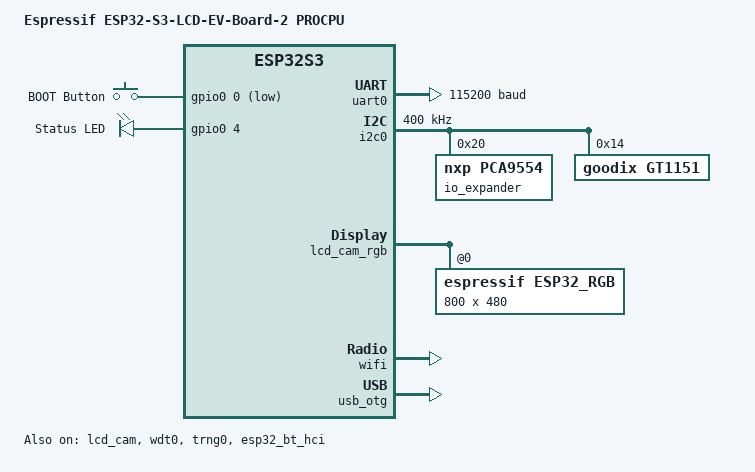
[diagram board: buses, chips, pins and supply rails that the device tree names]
/*
 * Copyright (c) 2026 Espressif Systems (Shanghai) Co., Ltd.
 *
 * SPDX-License-Identifier: Apache-2.0
 */
/dts-v1/;

#include <espressif/esp32s3/esp32s3.dtsi>
#include <zephyr/dt-bindings/input/input-event-codes.h>
#include <espressif/partitions_0x0_amp_16M.dtsi>
#include "esp32s3_lcd_ev-pinctrl.dtsi"

/ {
	model = "Espressif ESP32-S3-LCD-EV-Board-2 PROCPU";
	compatible = "espressif,esp32s3";

	aliases {
		i2c-0 = &i2c0;
		watchdog0 = &wdt0;
		uart-0 = &uart0;
		sw0 = &boot_button;
		led0 = &status_led;
		zephyr-display = &esp32_rgb;
		zephyr-touch = &gt1151;
	};

	chosen {
		zephyr,sram = &sram1;
		zephyr,console = &uart0;
		zephyr,shell-uart = &uart0;
		zephyr,flash = &flash0;
		zephyr,code-partition = &slot0_partition;
		zephyr,bt-hci = &esp32_bt_hci;
		zephyr,display = &esp32_rgb;
		zephyr,touch = &gt1151;
	};

	buttons {
		compatible = "gpio-keys";

		boot_button: button_0 {
			gpios = <&gpio0 0 (GPIO_PULL_UP | GPIO_ACTIVE_LOW)>;
			label = "BOOT Button";
			zephyr,code = <INPUT_KEY_0>;
		};
	};

	leds {
		compatible = "gpio-leds";

		status_led: led_0 {
			gpios = <&gpio0 4 GPIO_ACTIVE_HIGH>;
			label = "Status LED";
		};
	};
};

&flash0 {
	reg = <0x0 DT_SIZE_M(16)>;
	#address-cells = <1>;
	#size-cells = <1>;
	ranges = <0x0 0x0 DT_SIZE_M(16)>;
};

&psram0 {
	size = <DT_SIZE_M(16)>;
};

&dma {
	status = "okay";
};

&uart0 {
	status = "okay";
	current-speed = <115200>;
	pinctrl-0 = <&uart0_default>;
	pinctrl-1 = <&uart0_sleep>;
	pinctrl-names = "default", "sleep";
};

&gpio0 {
	status = "okay";
};

&gpio1 {
	status = "okay";
};

/*
 * Single I2C bus shared by:
 *   - TCA9554 GPIO expander (0x20) – PA_CTRL on SUB3
 *   - GT1151 touch controller (0x14)
 */
&i2c0 {
	status = "okay";
	clock-frequency = <I2C_BITRATE_FAST>;
	pinctrl-0 = <&i2c0_default>;
	pinctrl-names = "default";

	io_expander: tca9554@20 {
		compatible = "nxp,pca9554";
		reg = <0x20>;
		gpio-controller;
		#gpio-cells = <2>;
		ngpios = <8>;

		/* P0 - PA_CTRL: audio amplifier power enable (active high) */
	};

	gt1151: gt1151@14 {
		compatible = "goodix,gt1151";
		reg = <0x14>;
		screen-width = <800>;
		screen-height = <480>;
		/* No INT/RST GPIO routed on SUB3 */
	};
};

&i2s0 {
	status = "disabled";
};

/*
 * LCD-CAM RGB interface driving ST7262E43 (RGB565, 800x480) on SUB3.
 * The panel does not require an SPI init sequence.
 */
&lcd_cam {
	status = "okay";
	pinctrl-0 = <&lcd_cam_default>;
	pinctrl-names = "default";
};

&lcd_cam_rgb {
	status = "okay";

	esp32_rgb: esp32_rgb@0 {
		compatible = "espressif,esp32_rgb";
		reg = <0>;
		width = <800>;
		height = <480>;
		pclk-frequency = <18000000>;
		hsync-len = <40>;
		hback-porch = <40>;
		hfront-porch = <48>;
		vsync-len = <23>;
		vback-porch = <32>;
		vfront-porch = <13>;
		pclk-active-negative;
	};
};

&wdt0 {
	status = "okay";
};

&trng0 {
	status = "okay";
};

&timer0 {
	status = "disabled";
};

&timer1 {
	status = "disabled";
};

&timer2 {
	status = "disabled";
};

&timer3 {
	status = "disabled";
};

&esp32_bt_hci {
	status = "okay";
};

&wifi {
	status = "okay";
};

zephyr_udc0: &usb_otg {
	status = "okay";
};
